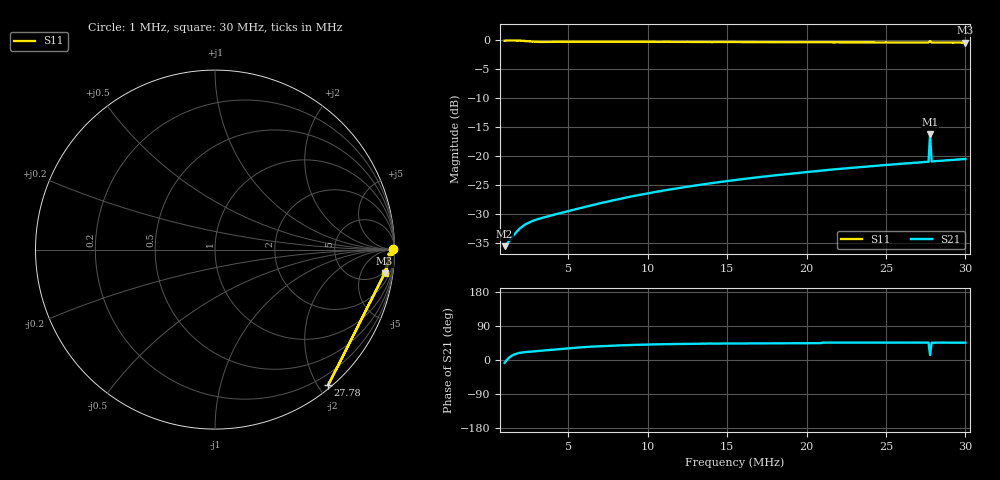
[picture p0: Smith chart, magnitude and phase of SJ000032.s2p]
!File created by NanoVNA-F V2
# Hz S RI R 50
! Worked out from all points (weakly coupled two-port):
!   301 points, 1 MHz to 30 MHz, reference 50 ohm
!   highest |S21| = -16.23 dB at 27.78 MHz (marker M1); lowest = -35.6 dB at 1 MHz (marker M2)
!   lowest |S11| = -0.4 dB at 30 MHz (marker M3), VSWR 42.21, Z = 223 - j647 ohm
!   |S11| at or under -10 dB: nowhere
!   S12 and S22 are empty: the file has one direction only
!   S11 on the Smith chart (normalised r, x): 1 MHz: open; 27.78 MHz: 0.04, -2.13; 30 MHz: 4, -13
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1000000  0.992 0.00238  0.0165 -0.00218  0 0  0 0
1193332  0.9944 -0.00109  0.0177 0.00089  0 0  0 0
1773328  0.9955 -0.0173  0.0213 0.00653  0 0  0 0
1869994  0.9914 -0.0206  0.0218 0.00715  0 0  0 0
1966660  0.9956 -0.0236  0.0225 0.00772  0 0  0 0
2256658  0.987 -0.0287  0.0238 0.00892  0 0  0 0
2546656  0.9801 -0.0328  0.0248 0.00986  0 0  0 0
3223318  0.9675 -0.0276  0.0263 0.0118  0 0  0 0
4189978  0.9696 -0.0235  0.0278 0.0146  0 0  0 0
5833300  0.9724 -0.0308  0.0298 0.0197  0 0  0 0
8636614  0.9719 -0.044  0.0339 0.0277  0 0  0 0
1.06666e7  0.9688 -0.0546  0.0371 0.0327  0 0  0 0
1.288992e7  0.9652 -0.064  0.0408 0.0376  0 0  0 0
1.54999e7  0.9642 -0.075  0.0449 0.0428  0 0  0 0
2.03332e7  0.9572 -0.0936  0.0524 0.0512  0 0  0 0
2.149319e7  0.9558 -0.0966  0.0529 0.0548  0 0  0 0
2.216985e7  0.9552 -0.1046  0.0541 0.0557  0 0  0 0
2.51665e7  0.9515 -0.1134  0.0585 0.0602  0 0  0 0
2.767982e7  0.9492 -0.1246  0.0622 0.064  0 0  0 0
2.777648e7  0.6301 -0.756  0.1503 0.0347  0 0  0 0
2.787315e7  0.9491 -0.1244  0.0627 0.0643  0 0  0 0
2.99998e7  0.9446 -0.1312  0.0657 0.0674  0 0  0 0
